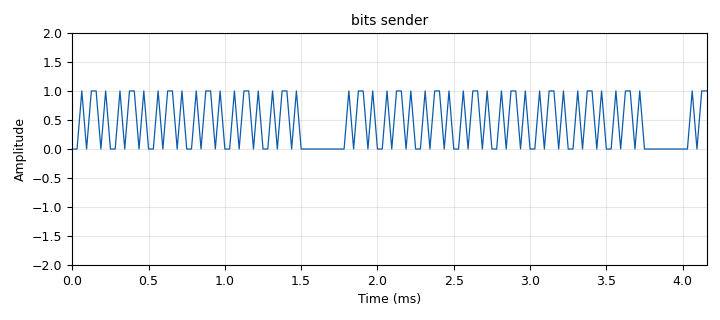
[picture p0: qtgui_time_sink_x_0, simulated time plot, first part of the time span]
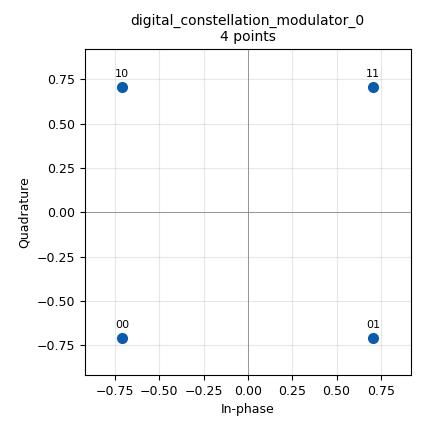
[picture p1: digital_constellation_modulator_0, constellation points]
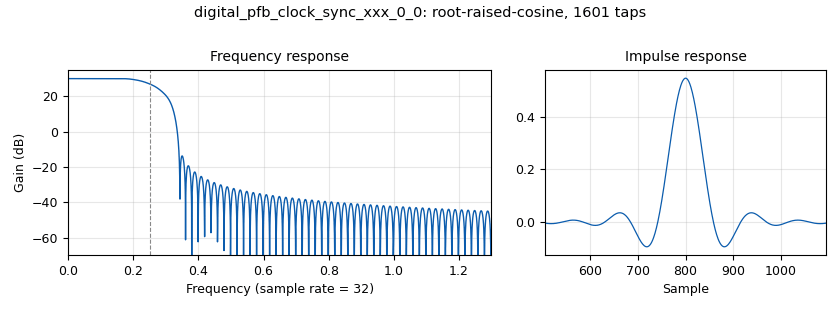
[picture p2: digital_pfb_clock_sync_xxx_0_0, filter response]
<?xml version='1.0' encoding='utf-8'?>
<?grc format='1' created='3.7.11'?>
<flow_graph>
<block>
<key>options</key>
<param><key>id</key><value>top_block</value></param>
<param><key>generate_options</key><value>qt_gui</value></param>
</block>
<block>
<key>variable</key>
<param><key>id</key><value>samp_rate</value></param>
<param><key>value</key><value>32000</value></param>
</block>
<block>
<key>variable_rrc_filter_taps</key>
<param><key>id</key><value>taps</value></param>
<param><key>alpha</key><value>0.35</value></param>
<param><key>gain</key><value>32</value></param>
<param><key>ntaps</key><value>50*32</value></param>
<param><key>samp_rate</key><value>32</value></param>
<param><key>sym_rate</key><value>0.5</value></param>
</block>
<block>
<key>variable_constellation</key>
<param><key>id</key><value>variable_constellation_0</value></param>
<param><key>type</key><value>qpsk</value></param>
<param><key>precision</key><value>8</value></param>
</block>
<block>
<key>analog_noise_source_x</key>
<param><key>id</key><value>analog_noise_source_x_0</value></param>
<param><key>amp</key><value>0</value></param>
<param><key>noise_type</key><value>analog.GR_GAUSSIAN</value></param>
<param><key>type</key><value>complex</value></param>
<param><key>seed</key><value>0</value></param>
</block>
<block>
<key>blocks_add_xx</key>
<param><key>id</key><value>blocks_add_xx_0</value></param>
<param><key>type</key><value>complex</value></param>
</block>
<block>
<key>blocks_char_to_float</key>
<param><key>id</key><value>blocks_char_to_float_0</value></param>
<param><key>scale</key><value>1</value></param>
</block>
<block>
<key>blocks_char_to_float</key>
<param><key>id</key><value>blocks_char_to_float_0_0</value></param>
<param><key>scale</key><value>1</value></param>
</block>
<block>
<key>blocks_message_debug</key>
<param><key>id</key><value>blocks_message_debug_1</value></param>
</block>
<block>
<key>blocks_message_debug</key>
<param><key>id</key><value>blocks_message_debug_1_0</value></param>
<param><key>_enabled</key><value>0</value></param>
</block>
<block>
<key>blocks_message_strobe</key>
<param><key>id</key><value>blocks_message_strobe_0</value></param>
<param><key>msg</key><value>pmt.intern("TEST")</value></param>
<param><key>period</key><value>0.001</value></param>
</block>
<block>
<key>blocks_packed_to_unpacked_xx</key>
<param><key>id</key><value>blocks_packed_to_unpacked_xx_0</value></param>
<param><key>bits_per_chunk</key><value>1</value></param>
<param><key>endianness</key><value>gr.GR_LSB_FIRST</value></param>
<param><key>type</key><value>byte</value></param>
</block>
<block>
<key>blocks_pdu_to_tagged_stream</key>
<param><key>id</key><value>blocks_pdu_to_tagged_stream_1</value></param>
<param><key>_enabled</key><value>0</value></param>
<param><key>type</key><value>byte</value></param>
<param><key>tag</key><value>packet_len</value></param>
</block>
<block>
<key>blocks_vector_source_x</key>
<param><key>id</key><value>blocks_vector_source_x_0</value></param>
<param><key>type</key><value>byte</value></param>
<param><key>repeat</key><value>True</value></param>
<param><key>vector</key><value>(180,180,180,180,180,180,180,180,0)</value></param>
</block>
<block>
<key>channels_channel_model</key>
<param><key>id</key><value>channels_channel_model_0</value></param>
<param><key>_enabled</key><value>0</value></param>
<param><key>epsilon</key><value>1.0</value></param>
<param><key>freq_offset</key><value>0.0</value></param>
<param><key>noise_voltage</key><value>0.0</value></param>
<param><key>seed</key><value>0</value></param>
<param><key>taps</key><value>1.0 + 1.0j</value></param>
</block>
<block>
<key>digital_binary_slicer_fb</key>
<param><key>id</key><value>digital_binary_slicer_fb_0</value></param>
</block>
<block>
<key>digital_cma_equalizer_cc</key>
<param><key>id</key><value>digital_cma_equalizer_cc_0</value></param>
<param><key>mu</key><value>0.001</value></param>
<param><key>modulus</key><value>1</value></param>
<param><key>num_taps</key><value>30</value></param>
<param><key>sps</key><value>1</value></param>
</block>
<block>
<key>digital_constellation_modulator</key>
<param><key>id</key><value>digital_constellation_modulator_0</value></param>
<param><key>constellation</key><value>variable_constellation_0</value></param>
<param><key>differential</key><value>False</value></param>
<param><key>excess_bw</key><value>0.35</value></param>
<param><key>samples_per_symbol</key><value>4</value></param>
</block>
<block>
<key>digital_constellation_soft_decoder_cf</key>
<param><key>id</key><value>digital_constellation_soft_decoder_cf_0</value></param>
<param><key>constellation</key><value>variable_constellation_0</value></param>
</block>
<block>
<key>digital_costas_loop_cc</key>
<param><key>id</key><value>digital_costas_loop_cc_0</value></param>
<param><key>w</key><value>0.055</value></param>
<param><key>order</key><value>4</value></param>
<param><key>use_snr</key><value>True</value></param>
</block>
<block>
<key>digital_crc32_async_bb</key>
<param><key>id</key><value>digital_crc32_async_bb_0</value></param>
<param><key>check</key><value>False</value></param>
</block>
<block>
<key>digital_crc32_async_bb</key>
<param><key>id</key><value>digital_crc32_async_bb_0_0</value></param>
<param><key>check</key><value>True</value></param>
</block>
<block>
<key>digital_pfb_clock_sync_xxx</key>
<param><key>id</key><value>digital_pfb_clock_sync_xxx_0_0</value></param>
<param><key>filter_size</key><value>32</value></param>
<param><key>init_phase</key><value>16</value></param>
<param><key>loop_bw</key><value>0.0628</value></param>
<param><key>max_dev</key><value>1.5</value></param>
<param><key>osps</key><value>1</value></param>
<param><key>sps</key><value>4</value></param>
<param><key>taps</key><value>taps</value></param>
<param><key>type</key><value>ccf</value></param>
</block>
<block>
<key>epy_block</key>
<param><key>id</key><value>epy_block_0</value></param>
<param><key>_source_code</key><value>"""
Embedded Python Blocks:

Each time this file is saved, GRC will instantiate the first class it finds
to get ports and parameters of your block. The arguments to __init__  will
be the parameters. All of them are required to have default values!
"""

import numpy as np
from gnuradio import gr
import pmt 

class blk(gr.sync_block):  # other base classes are basic_block, decim_block, interp_block
    """Embedded Python Block example - a simple multiply const"""

    def __init__(self, startOfFrame = '10101010' , endOfFrame='10101010',escapeCharacter='10101010',threshold = 0): 
        gr.sync_block.__init__(
            self,
            name='receiver interpreter block',   # will show up in GRC
            in_sig=[np.byte],
            out_sig=[]
        )
        self.message_port_register_out(pmt.intern("rmsg"))
        self.message_port_register_out(pmt.intern("PDUout"))
        self._startOfFrame          = startOfFrame
        self._endOfFrame            = endOfFrame 
        self._escapeCharacter       = escapeCharacter
        self._threshold             = threshold
        self._size                  = 8
        self._buffer                = ['','','','','','','','']
        self._buffer2               = ['','','','','','','','']
        self._packet                = '' 
        self._endDetectedWithInput  = False
        self._escCharacterDetected  = False
        self._searching             = False
        self._foundPacket           = False 
        self._parserOn              = False 
        self._searchBlock           = False
        self._counter               = 0
    def _startAgain(self):
        self._buffer                = ['','','','','','','','']
        self._buffer2               = ['','','','','','','','']
        self._packet                = '' 
        self._endDetectedWithInput  = False
        self._escCharacterDetected  = False
        self._searching             = True
        self._foundPacket           = False 
        self._parserOn              = True 
        self._searchBlock           = False
        self._counter               = 0
    def _resetState(self):
        self._buffer                = ['','','','','','','','']
        self._buffer2               = ['','','','','','','','']
        self._packet                = '' 
        self._endDetectedWithInput  = False
        self._escCharacterDetected  = False
        self._searching             = False
        self._foundPacket           = False 
        self._parserOn              = False 
        self._searchBlock           = False
        self._counter               = 0
    def _searchForFrameStart(self , newBitString):
        self._updateBuffer(self._buffer,newBitString)
        self._foundPacket =  self._compareBuffer(self._buffer, self._startOfFrame)
    def _parseAndStorePacket(self , newBitString):
        self._updatePacket(newBitString)
        self._endDetectedWithInput = self._compareBuffer(self._buffer,self._endOfFrame)
        self._escCharacterDetected = self._compareBuffer(self._buffer, self._escapeCharacter)
    def _updatePacket(self , newBitString):
        self._packet              = self._packet + self._updateBuffer(self._buffer,newBitString)
    def _packetToPDU(self):
        self.message_port_pub(pmt.intern('rmsg'), pmt.intern('paring packet'))
        if (len(self._packet)%self._size == 0):
            numberOfBytes = int(round(len(self._packet)/self._size)) 
            stream = pmt.make_u8vector(numberOfBytes,0)
            for by in range(numberOfBytes):
                element = int(self._packet[by*self._size:(by+1)*self._size],2)
                pmt.u8vector_set(stream, by, element)
            pdu = pmt.cons(pmt.make_dict(),stream)
            self.message_port_pub(pmt.intern('rmsg'),pmt.intern('sending pdu'))
            self.message_port_pub(pmt.intern("PDUout"), pdu)
    def _resetBuffer(self):
        self._buffer   = ['','','','','','','','']
    def _resetBuffer2(self): 
         self._buffer2 = ['','','','','','','','']       
    def _updateBuffer(self, bufferList, element):
        result = bufferList.pop(0)
        bufferList.append(element)
        return result 
    def _compareBufferElement(self , bufferList, targetString, index):
        if ( bufferList[index] == targetString[index]):
            return 0
        else :
            return 1
    def _compareBuffer(self , bufferList , targetString):
        result = 0
        for index in range(self._size):
            result = result + self._compareBufferElement(bufferList, targetString, index)
        return (result &lt;= self._threshold) 
    def work(self, input_items, output_items):
        for offset in range(len(input_items[0])):
            tags = self.get_tags_in_window(0,offset,offset +1 )
            for tag in tags:
                if pmt.symbol_to_string(tag.key) == "Power":
                    self.message_port_pub(pmt.intern("rmsg"),pmt.intern('power'))
                    if pmt.is_true(tag.value):
                        self.message_port_pub(pmt.intern("rmsg"),pmt.intern('power ok: start search'))
                        self._searching      = True
                        self._parserOn       = True 
                    else:
                        #self.message_port_pub(pmt.intern("rmsg"),pmt.intern(str(self._packet)))
                        self._packetToPDU() 
                        self._resetState()
            if self._parserOn:
                inputBytes        = input_items[0][offset]
                inputString       = str(inputBytes).decode('UTF-8')
                if  self._searching:
                    self._searchForFrameStart(inputString)
                    if self._foundPacket:
                        self._resetBuffer()
                        self._searching = False 
                        self.message_port_pub(pmt.intern("rmsg"), pmt.intern("found packet"))
                elif self._foundPacket:
                    if not self._searchBlock:
                        self._parseAndStorePacket(inputString)
                        if self._escCharacterDetected:
                            self._resetBuffer()
                            self._escCharacterDetected = False 
                            self._searchBlock          = True
                            self._counter              = 0
                    else :
                        self._updatePacket(inputString)
                        self._counter = self._counter + 1
                        if self._counter == 15:
                            self._searchBlock = False 
                    if self._endDetectedWithInput:
                        self.message_port_pub(pmt.intern('rmsg'), pmt.intern('end detected'))
                        self._packetToPDU()
                        self._startAgain() 
        return len(input_items[0])

</value></param>
<param><key>_enabled</key><value>0</value></param>
<param><key>endOfFrame</key><value>'01100110'</value></param>
<param><key>escapeCharacter</key><value>'01111000'</value></param>
<param><key>startOfFrame</key><value>'10101010'</value></param>
<param><key>threshold</key><value>0</value></param>
</block>
<block>
<key>epy_block</key>
<param><key>id</key><value>epy_block_1</value></param>
<param><key>_source_code</key><value>"""
Embedded Python Blocks:

Each time this file is saved, GRC will instantiate the first class it finds
to get ports and parameters of your block. The arguments to __init__  will
be the parameters. All of them are required to have default values!
"""

import numpy as np
from gnuradio import gr
import pmt


class blk(gr.basic_block):  # other base classes are basic_block, decim_block, interp_block
    """Embedded Python Block example - a simple multiply const"""

    def __init__(self):  # only default arguments here
        """arguments to this function show up as parameters in GRC"""
        gr.basic_block.__init__(
            self,
            name='Packet Source',   # will show up in GRC
            in_sig=[],
            out_sig=[]
        )
        self.message_port_register_out(pmt.intern('msg_out'))
        self.message_port_register_in(pmt.intern('msg_in'))
        self.set_msg_handler(pmt.intern('msg_in'), self.handle_msg)
    def handle_msg(self, msg):
        meta = pmt.make_dict()
        meta = pmt.dict_add(meta,pmt.intern('dataLength'),pmt.from_long(1)) 
        self.message_port_pub(pmt.intern('msg_out'), pmt.cons(meta, pmt.make_u8vector(100, 135)))
</value></param>
</block>
<block>
<key>epy_block</key>
<param><key>id</key><value>epy_block_2</value></param>
<param><key>_source_code</key><value>"""
Embedded Python Blocks:

Each time this file is saved, GRC will instantiate the first class it finds
to get ports and parameters of your block. The arguments to __init__  will
be the parameters. All of them are required to have default values!
"""

import numpy as np
from gnuradio import gr
import pmt


class blk(gr.sync_block):  # other base classes are basic_block, decim_block, interp_block
    """Embedded Python Block example - a simple multiply const"""

    def __init__(self, threshold = 0.5):  # only default arguments here
        """arguments to this function show up as parameters in GRC"""
        gr.sync_block.__init__(
            self,
            name='input detector',   # will show up in GRC
            in_sig=[np.complex64],
            out_sig=[np.complex64]
        )
        # if an attribute with the same name as a parameter is found,
        # a callback is registered (properties work, too).
        self._threshold = threshold
        self._power     = False
        self._key       = pmt.intern('Power')

    def work(self, input_items, output_items):
        for ind, sample in enumerate(input_items[0]):
            if not self._power:
                if  abs(sample) &gt;= self._threshold:
                    self.add_item_tag(0,self.nitems_written(0) + ind,self._key, pmt.from_bool(True))
                    self._power = True
            else:
                if abs(sample) &lt; self._threshold:
                    self.add_item_tag(0,self.nitems_written(0) + ind, self._key, pmt.from_bool(False))
                    self._power = False
        output_items[0][:] = input_items[0]
        return len(output_items[0])
</value></param>
<param><key>threshold</key><value>0.3</value></param>
</block>
<block>
<key>epy_block</key>
<param><key>id</key><value>epy_block_3</value></param>
<param><key>_source_code</key><value>"""
Embedded Python Blocks:

Each time this file is saved, GRC will instantiate the first class it finds
to get ports and parameters of your block. The arguments to __init__  will
be the parameters. All of them are required to have default values!
"""

import numpy as np
from gnuradio import gr
import pmt

SYMBOL_SIZE = 8


class blk(gr.basic_block):  # other base classes are basic_block, decim_block, interp_block
    """Embedded Python Block example - a simple multiply const"""

    def __init__(self, startString='10101010', escapeString='10101010', endString='10101010', preambleString= '10101010', preambleLength = 10 ):  # only default arguments here
        """arguments to this functi show up as parameters in GRC"""
        gr.basic_block.__init__(
            self,
            name='Data Link Formatter',   # will show up in GRC
            in_sig=[],
            out_sig=[]
        )
        self._startString    = startString 
        self._escapeString   = escapeString
        self._endString      = endString 
        self._preambleString = preambleString
        self._preambleLength = preambleLength
        self.message_port_register_out(pmt.intern('debug')) 
        self.message_port_register_in(pmt.intern('packet_in'))
        self.message_port_register_out(pmt.intern('packet_out')) 
        self.set_msg_handler(pmt.intern('packet_in'),self._handle_packet)
    def _parse_data_for_characters(self, dataList, index):
        resultSS   = True 
        resultEndS = True 
        resultEscS = True 
        for offset  in range(SYMBOL_SIZE):
            resultSS   = resultSS   and (dataList[index+offset]   == self._startString[offset]   )
            resultEndS = resultEndS and (dataList[index+offset]   == self._endString[offset]     )
            resultEscS = resultEscS and (dataList[index+offset]   == self._escapeString[offset]  )
        result = resultSS or resultEndS or resultEscS
        return result
    def _transform_data(self,packetList, size): 
        outputData = list(self._preambleString*self._preambleLength)
        outputData.extend(list(self._startString))
        iterator = iter(range(size))
        for index in iterator:
            if index &gt;= (size - SYMBOL_SIZE +2):
                outputData.append(packetList[index]) 
            elif self._parse_data_for_characters(packetList, index):
                outputData.extend(list(self._escapeString))
                outputData.append(packetList[index])
                for times in range(SYMBOL_SIZE -1):
                    outputData.append(packetList[next(iterator, None)])
            else :
                outputData.append(packetList[index])
        return outputData
    def _byteList_to_pmtvector(self, byteList):
        length = len(byteList) 
        vector = pmt.make_u8vector(length,0)
        byteIterator = iter(range(length))
        for byte in byteIterator:
            pmt.u8vector_set(vector,byte, byteList[byte])
        return vector 
    def _handle_packet(self, pdu): 
        field       = pmt.car(pdu)
        lengthP     = pmt.to_python(pmt.dict_ref(field,pmt.intern('dataLength'), pmt.from_long(0)))+4
        packetTemp  = pmt.cdr(pdu)   
        packetList  = []
        packet      = pdu
        for index in range(lengthP):
            item = list(bin(pmt.u8vector_ref(packetTemp,index))[2:].zfill(8)) 
            packetList.extend(item)
        lengthP =  len(packetList)
        packetList = self._transform_data(packetList,lengthP)
        packetList.extend(list(self._endString))
        iterator = iter(packetList)
        byteList = [int("".join(sli),2) for sli in zip(*iter([iterator]*SYMBOL_SIZE))]
        data_pdu = self._byteList_to_pmtvector(byteList)
        packet = pmt.cons(pmt.make_dict(),data_pdu)
        self.message_port_pub(pmt.intern('packet_out'), packet)
    
</value></param>
<param><key>endString</key><value>'01100110'</value></param>
<param><key>escapeString</key><value>'01111000'</value></param>
<param><key>preambleLength</key><value>18</value></param>
<param><key>preambleString</key><value>'10000111'</value></param>
<param><key>startString</key><value>'10101010'</value></param>
</block>
<block>
<key>pluto_sink</key>
<param><key>id</key><value>pluto_sink_0</value></param>
<param><key>attenuation</key><value>0</value></param>
<param><key>buffer_size</key><value>0x8000</value></param>
<param><key>cyclic</key><value>False</value></param>
<param><key>auto_filter</key><value>True</value></param>
<param><key>filter</key><value></value></param>
<param><key>uri</key><value>'ip:192.168.2.1'</value></param>
<param><key>frequency</key><value>900000000</value></param>
<param><key>bandwidth</key><value>1000000</value></param>
<param><key>samplerate</key><value>2000000</value></param>
</block>
<block>
<key>pluto_source</key>
<param><key>id</key><value>pluto_source_0</value></param>
<param><key>bbdc</key><value>True</value></param>
<param><key>buffer_size</key><value>0x8000</value></param>
<param><key>uri</key><value>'ip:192.168.3.2'</value></param>
<param><key>auto_filter</key><value>True</value></param>
<param><key>filter</key><value></value></param>
<param><key>gain</key><value>"manual"</value></param>
<param><key>frequency</key><value>900000000</value></param>
<param><key>manual_gain</key><value>50</value></param>
<param><key>quadrature</key><value>True</value></param>
<param><key>rfdc</key><value>True</value></param>
<param><key>bandwidth</key><value>500000</value></param>
<param><key>samplerate</key><value>2000000</value></param>
</block>
<block>
<key>qtgui_const_sink_x</key>
<param><key>id</key><value>qtgui_const_sink_x_0</value></param>
<param><key>size</key><value>400</value></param>
<param><key>type</key><value>complex</value></param>
<param><key>update_time</key><value>1</value></param>
</block>
<block>
<key>qtgui_const_sink_x</key>
<param><key>id</key><value>qtgui_const_sink_x_0_0</value></param>
<param><key>_enabled</key><value>0</value></param>
<param><key>size</key><value>400</value></param>
<param><key>type</key><value>complex</value></param>
<param><key>update_time</key><value>1</value></param>
</block>
<block>
<key>qtgui_freq_sink_x</key>
<param><key>id</key><value>qtgui_freq_sink_x_0</value></param>
<param><key>bw</key><value>1000000</value></param>
<param><key>fc</key><value>0</value></param>
<param><key>_enabled</key><value>0</value></param>
<param><key>fftsize</key><value>1024</value></param>
<param><key>showports</key><value>True</value></param>
<param><key>type</key><value>complex</value></param>
<param><key>wintype</key><value>firdes.WIN_BLACKMAN_hARRIS</value></param>
</block>
<block>
<key>qtgui_time_sink_x</key>
<param><key>id</key><value>qtgui_time_sink_x_0</value></param>
<param><key>color1</key><value>"blue"</value></param>
<param><key>label1</key><value></value></param>
<param><key>name</key><value>"bits sender"</value></param>
<param><key>size</key><value>400</value></param>
<param><key>srate</key><value>samp_rate</value></param>
<param><key>type</key><value>float</value></param>
<param><key>update_time</key><value>1</value></param>
<param><key>ymax</key><value>2</value></param>
<param><key>ymin</key><value>-2</value></param>
</block>
<block>
<key>qtgui_time_sink_x</key>
<param><key>id</key><value>qtgui_time_sink_x_0_0</value></param>
<param><key>color1</key><value>"blue"</value></param>
<param><key>label1</key><value></value></param>
<param><key>color2</key><value>"red"</value></param>
<param><key>label2</key><value></value></param>
<param><key>name</key><value>"receiver"</value></param>
<param><key>size</key><value>320</value></param>
<param><key>srate</key><value>samp_rate</value></param>
<param><key>type</key><value>complex</value></param>
<param><key>update_time</key><value>1</value></param>
<param><key>ymax</key><value>2</value></param>
<param><key>ymin</key><value>-2</value></param>
</block>
<block>
<key>qtgui_time_sink_x</key>
<param><key>id</key><value>qtgui_time_sink_x_0_0_0</value></param>
<param><key>_enabled</key><value>0</value></param>
<param><key>color1</key><value>"blue"</value></param>
<param><key>label1</key><value></value></param>
<param><key>color2</key><value>"red"</value></param>
<param><key>label2</key><value></value></param>
<param><key>name</key><value>"bits"</value></param>
<param><key>size</key><value>2000</value></param>
<param><key>srate</key><value>samp_rate</value></param>
<param><key>type</key><value>complex</value></param>
<param><key>update_time</key><value>1</value></param>
<param><key>ymax</key><value>2</value></param>
<param><key>ymin</key><value>-2</value></param>
</block>
<block>
<key>qtgui_time_sink_x</key>
<param><key>id</key><value>qtgui_time_sink_x_0_1</value></param>
<param><key>color1</key><value>"blue"</value></param>
<param><key>label1</key><value></value></param>
<param><key>name</key><value>"bits receiver"</value></param>
<param><key>size</key><value>400</value></param>
<param><key>srate</key><value>samp_rate</value></param>
<param><key>type</key><value>float</value></param>
<param><key>update_time</key><value>1</value></param>
<param><key>ymax</key><value>2</value></param>
<param><key>ymin</key><value>-2</value></param>
</block>
<connection><source_block_id>analog_noise_source_x_0</source_block_id><sink_block_id>blocks_add_xx_0</sink_block_id><source_key>0</source_key><sink_key>1</sink_key></connection>
<connection><source_block_id>blocks_add_xx_0</source_block_id><sink_block_id>digital_pfb_clock_sync_xxx_0_0</sink_block_id><source_key>0</source_key><sink_key>0</sink_key></connection>
<connection><source_block_id>blocks_add_xx_0</source_block_id><sink_block_id>qtgui_time_sink_x_0_0</sink_block_id><source_key>0</source_key><sink_key>0</sink_key></connection>
<connection><source_block_id>blocks_char_to_float_0</source_block_id><sink_block_id>qtgui_time_sink_x_0</sink_block_id><source_key>0</source_key><sink_key>0</sink_key></connection>
<connection><source_block_id>blocks_char_to_float_0_0</source_block_id><sink_block_id>qtgui_time_sink_x_0_1</sink_block_id><source_key>0</source_key><sink_key>0</sink_key></connection>
<connection><source_block_id>blocks_message_strobe_0</source_block_id><sink_block_id>epy_block_1</sink_block_id><source_key>strobe</source_key><sink_key>msg_in</sink_key></connection>
<connection><source_block_id>blocks_packed_to_unpacked_xx_0</source_block_id><sink_block_id>blocks_char_to_float_0</sink_block_id><source_key>0</source_key><sink_key>0</sink_key></connection>
<connection><source_block_id>blocks_pdu_to_tagged_stream_1</source_block_id><sink_block_id>digital_constellation_modulator_0</sink_block_id><source_key>0</source_key><sink_key>0</sink_key></connection>
<connection><source_block_id>blocks_vector_source_x_0</source_block_id><sink_block_id>blocks_packed_to_unpacked_xx_0</sink_block_id><source_key>0</source_key><sink_key>0</sink_key></connection>
<connection><source_block_id>blocks_vector_source_x_0</source_block_id><sink_block_id>digital_constellation_modulator_0</sink_block_id><source_key>0</source_key><sink_key>0</sink_key></connection>
<connection><source_block_id>channels_channel_model_0</source_block_id><sink_block_id>blocks_add_xx_0</sink_block_id><source_key>0</source_key><sink_key>0</sink_key></connection>
<connection><source_block_id>digital_binary_slicer_fb_0</source_block_id><sink_block_id>blocks_char_to_float_0_0</sink_block_id><source_key>0</source_key><sink_key>0</sink_key></connection>
<connection><source_block_id>digital_binary_slicer_fb_0</source_block_id><sink_block_id>epy_block_0</sink_block_id><source_key>0</source_key><sink_key>0</sink_key></connection>
<connection><source_block_id>digital_cma_equalizer_cc_0</source_block_id><sink_block_id>digital_costas_loop_cc_0</sink_block_id><source_key>0</source_key><sink_key>0</sink_key></connection>
<connection><source_block_id>digital_cma_equalizer_cc_0</source_block_id><sink_block_id>qtgui_const_sink_x_0_0</sink_block_id><source_key>0</source_key><sink_key>0</sink_key></connection>
<connection><source_block_id>digital_constellation_modulator_0</source_block_id><sink_block_id>pluto_sink_0</sink_block_id><source_key>0</source_key><sink_key>0</sink_key></connection>
<connection><source_block_id>digital_constellation_modulator_0</source_block_id><sink_block_id>qtgui_freq_sink_x_0</sink_block_id><source_key>0</source_key><sink_key>0</sink_key></connection>
<connection><source_block_id>digital_constellation_soft_decoder_cf_0</source_block_id><sink_block_id>digital_binary_slicer_fb_0</sink_block_id><source_key>0</source_key><sink_key>0</sink_key></connection>
<connection><source_block_id>digital_costas_loop_cc_0</source_block_id><sink_block_id>epy_block_2</sink_block_id><source_key>0</source_key><sink_key>0</sink_key></connection>
<connection><source_block_id>digital_crc32_async_bb_0</source_block_id><sink_block_id>epy_block_3</sink_block_id><source_key>out</source_key><sink_key>packet_in</sink_key></connection>
<connection><source_block_id>digital_crc32_async_bb_0_0</source_block_id><sink_block_id>blocks_message_debug_1</sink_block_id><source_key>out</source_key><sink_key>print_pdu</sink_key></connection>
<connection><source_block_id>digital_pfb_clock_sync_xxx_0_0</source_block_id><sink_block_id>digital_cma_equalizer_cc_0</sink_block_id><source_key>0</source_key><sink_key>0</sink_key></connection>
<connection><source_block_id>epy_block_0</source_block_id><sink_block_id>digital_crc32_async_bb_0_0</sink_block_id><source_key>PDUout</source_key><sink_key>in</sink_key></connection>
<connection><source_block_id>epy_block_0</source_block_id><sink_block_id>blocks_message_debug_1</sink_block_id><source_key>rmsg</source_key><sink_key>print</sink_key></connection>
<connection><source_block_id>epy_block_1</source_block_id><sink_block_id>digital_crc32_async_bb_0</sink_block_id><source_key>msg_out</source_key><sink_key>in</sink_key></connection>
<connection><source_block_id>epy_block_2</source_block_id><sink_block_id>digital_constellation_soft_decoder_cf_0</sink_block_id><source_key>0</source_key><sink_key>0</sink_key></connection>
<connection><source_block_id>epy_block_2</source_block_id><sink_block_id>qtgui_const_sink_x_0</sink_block_id><source_key>0</source_key><sink_key>0</sink_key></connection>
<connection><source_block_id>epy_block_2</source_block_id><sink_block_id>qtgui_time_sink_x_0_0_0</sink_block_id><source_key>0</source_key><sink_key>0</sink_key></connection>
<connection><source_block_id>epy_block_3</source_block_id><sink_block_id>blocks_message_debug_1_0</sink_block_id><source_key>packet_out</source_key><sink_key>print_pdu</sink_key></connection>
<connection><source_block_id>epy_block_3</source_block_id><sink_block_id>blocks_pdu_to_tagged_stream_1</sink_block_id><source_key>packet_out</source_key><sink_key>pdus</sink_key></connection>
<connection><source_block_id>pluto_source_0</source_block_id><sink_block_id>blocks_add_xx_0</sink_block_id><source_key>0</source_key><sink_key>0</sink_key></connection>
</flow_graph>
